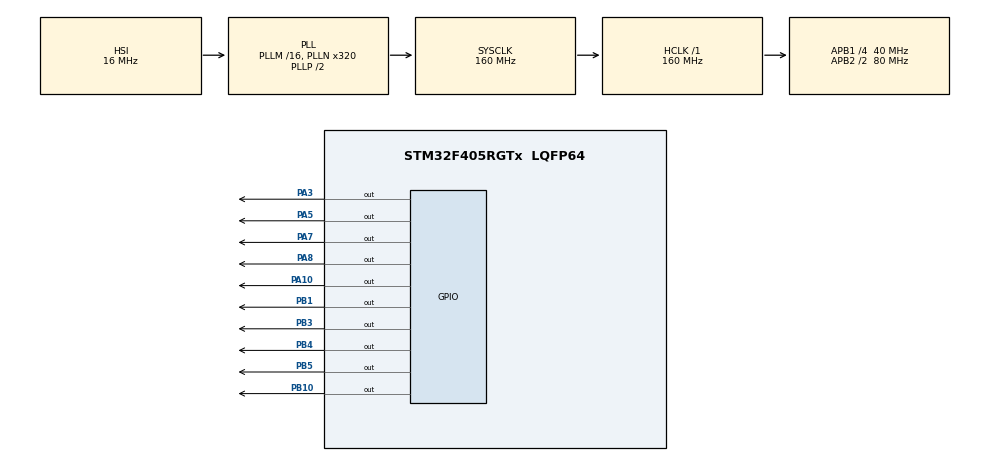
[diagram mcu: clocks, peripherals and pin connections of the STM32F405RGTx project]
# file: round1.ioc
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Mcu.Family=STM32F4
Mcu.Name=STM32F405RGTx
Mcu.Package=LQFP64
NVIC.PriorityGroup=NVIC_PRIORITYGROUP_4
PA10.GPIO_Speed=GPIO_SPEED_FREQ_HIGH
PA10.Signal=GPIO_Output
PA3.GPIO_Speed=GPIO_SPEED_FREQ_HIGH
PA3.Signal=GPIO_Output
PA5.GPIO_Speed=GPIO_SPEED_FREQ_HIGH
PA5.Signal=GPIO_Output
PA7.GPIO_Speed=GPIO_SPEED_FREQ_HIGH
PA7.Signal=GPIO_Output
PA8.GPIO_Speed=GPIO_SPEED_FREQ_HIGH
PA8.PinState=GPIO_PIN_SET
PA8.Signal=GPIO_Output
PB1.GPIO_Speed=GPIO_SPEED_FREQ_HIGH
PB1.Signal=GPIO_Output
PB10.GPIO_Speed=GPIO_SPEED_FREQ_HIGH
PB10.Signal=GPIO_Output
PB3.GPIO_Speed=GPIO_SPEED_FREQ_HIGH
PB3.Signal=GPIO_Output
PB4.GPIO_Speed=GPIO_SPEED_FREQ_HIGH
PB4.Signal=GPIO_Output
PB5.GPIO_Speed=GPIO_SPEED_FREQ_HIGH
PB5.Signal=GPIO_Output
ProjectManager.HeapSize=0x200
ProjectManager.StackSize=0x400
ProjectManager.TargetToolchain=Makefile
RCC.48MHZClocksFreq_Value=106666666.66666667
RCC.AHBFreq_Value=160000000
RCC.APB1CLKDivider=RCC_HCLK_DIV4
RCC.APB1Freq_Value=40000000
RCC.APB1TimFreq_Value=80000000
RCC.APB2CLKDivider=RCC_HCLK_DIV2
RCC.APB2Freq_Value=80000000
RCC.APB2TimFreq_Value=160000000
RCC.CortexFreq_Value=160000000
RCC.HCLKFreq_Value=160000000
RCC.HSE_VALUE=26000000
RCC.HSI_VALUE=16000000
RCC.LSE_VALUE=32768
RCC.PLLN=320
RCC.PLLQ=3
RCC.SYSCLKFreq_VALUE=160000000
RCC.SYSCLKSource=RCC_SYSCLKSOURCE_PLLCLK
RCC.VCOOutputFreq_Value=320000000
board=round1

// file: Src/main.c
/* USER CODE BEGIN Header */
/**
  ******************************************************************************
  * @file           : main.c
  * @brief          : Main program body
  ******************************************************************************
  * @attention
  *
  * <h2><center>&copy; Copyright (c) 2019 STMicroelectronics.
  * All rights reserved.</center></h2>
  *
  * This software component is licensed by ST under BSD 3-Clause license,
  * the "License"; You may not use this file except in compliance with the
  * License. You may obtain a copy of the License at:
  *                        opensource.org/licenses/BSD-3-Clause
  *
  ******************************************************************************
  */
/* USER CODE END Header */

#include "main.h"

/* USER CODE BEGIN Includes */
#include <math.h>
#include <stdlib.h>
#include <string.h>
#include "mpu6000.h"
#include "snake.h"
#include "buttons.h"
#include "led_panel.h"
#include "blockchain.h"
#include "servo.h"
#include "slave.h"

/* USER CODE END Includes */

/* USER CODE BEGIN PV */
/* Private variables ---------------------------------------------------------*/

static GPIO_InitTypeDef  GPIO_InitStruct;

/* USER CODE END PV */

void SystemClock_Config(void);
static void MX_GPIO_Init(void);
/* USER CODE BEGIN PFP */
/* Private function prototypes -----------------------------------------------*/

/* USER CODE END PFP */

/* USER CODE BEGIN 0 */

#define MODE_RAIN        0b0000000000000001
#define MODE_SNAKE       0b0000000000000010
#define MODE_BLIND       0b0000000000000100
#define MODE_RANDOM      0b0000000000001000
#define MODE_DEBUG       0b0000000000010000
#define MODE_EYE         0b0000000000100000
#define MODE_WELCOME     0b0000000001000000
#define MODE_BLOCKCHAIN  0b0000000010000000
#define MODE_PLASMA      0b0000000100000000

#define SLAVE_MODE_RAIN		0
#define SLAVE_MODE_SNAKE	1
#define SLAVE_MODE_BLIND	2
#define SLAVE_MODE_RANDOM	3
#define SLAVE_MODE_EYE		4
#define SLAVE_MODE_WELCOME	5
#define SLAVE_MODE_BLOCKCHAIN	6
#define SLAVE_MODE_PLASMA	7

#define PWM_TOP 2001
#define PWM_BOTTOM 550
#define PWM_RANGE (PWM_TOP - PWM_BOTTOM)
#define PWM_RANGE_MIDPOINT (PWM_RANGE / 2.0)
const float degreesPerPwm = PWM_RANGE / 180;

uint8_t slaveModeEnabled() {
	return !HAL_GPIO_ReadPin(GPIOC, GPIO_PIN_3);
}

void setSlaveMode(uint8_t slaveMode) {
        HAL_GPIO_WritePin(GPIOC, GPIO_PIN_7, GPIO_PIN_RESET); // SET OTHER BADGE TO SLAVE
        HAL_GPIO_WritePin(GPIOC, GPIO_PIN_6, (slaveMode & (1 << 2)) ? GPIO_PIN_SET : GPIO_PIN_RESET);
        HAL_GPIO_WritePin(GPIOC, GPIO_PIN_5, (slaveMode & (1 << 1)) ? GPIO_PIN_SET : GPIO_PIN_RESET);
        HAL_GPIO_WritePin(GPIOC, GPIO_PIN_4, (slaveMode & (1 << 0)) ? GPIO_PIN_SET : GPIO_PIN_RESET);
}

uint16_t calculateServoAnglePwm(float angle) {
	angle += 90;
	uint16_t servoPwm = PWM_BOTTOM + (angle * degreesPerPwm);

	if(servoPwm > PWM_TOP) {
		servoPwm = PWM_TOP;
	}
	if(servoPwm < PWM_BOTTOM) {
		servoPwm = PWM_BOTTOM;
	}

	return servoPwm;
}

uint8_t buttonPressed(uint32_t buttonState[16], uint32_t buttonAccumulators[16], uint32_t button, uint32_t* lastButtonPressTick) {
	uint8_t buttonPressed = 0;

	if((buttonState[button] < 256) && (buttonAccumulators[button] > 256)) {
		buttonPressed = 1;
		buttonState[button] = 512;

		*lastButtonPressTick = HAL_GetTick();
	} else if(buttonAccumulators[button] < 256) {
		buttonState[button] = 0;
	}

	return buttonPressed;
}

struct AccRingBuffer {
	int16_t x;
	int16_t y;
	int16_t z;

	struct AccRingBuffer* next;
};
struct AccRingBuffer* accRingBuffer;

void initRingBufferEntry(struct AccRingBuffer* ringBufferEntry) {
	ringBufferEntry->x = 0;
	ringBufferEntry->y = 0;
	ringBufferEntry->z = 0;

	ringBufferEntry->next = NULL;
}

void initAccRingBuffer(uint8_t bufferSize) {
	accRingBuffer = malloc(sizeof(struct AccRingBuffer));
	struct AccRingBuffer* curAccRingBuffer = accRingBuffer;
	initRingBufferEntry(curAccRingBuffer);

	while(bufferSize-- > 1) {
		struct AccRingBuffer* nextAccRingBuffer = malloc(sizeof(struct AccRingBuffer));
		initRingBufferEntry(nextAccRingBuffer);

		nextAccRingBuffer->next = accRingBuffer;
		curAccRingBuffer->next = nextAccRingBuffer;

		curAccRingBuffer = nextAccRingBuffer;
	}
}

void moveToNextAccRingBufferEntry() {
	struct AccRingBuffer* nextAccRingBuffer = accRingBuffer->next;
	accRingBuffer = nextAccRingBuffer;
}

void calculateMeans(uint8_t bufferSize, uint16_t* ret_x, uint16_t* ret_y, uint16_t* ret_z) {
	uint32_t x = 0;
	uint32_t y = 0;
	uint32_t z = 0;

	for(int i = 0; i < bufferSize; i++) {
		printf("arb x (%d) y (%d) z (%d)\n", accRingBuffer->x, accRingBuffer->y, accRingBuffer->z);
		x += accRingBuffer->x;
		y += accRingBuffer->y;
		z += accRingBuffer->z;

		moveToNextAccRingBufferEntry();
	}

	x /= bufferSize;
	y /= bufferSize;
	z /= bufferSize;

	(*ret_x) = x;
	(*ret_y) = y;
	(*ret_z) = z;
}

void calculateStdDevs(uint8_t bufferSize, uint16_t* mean_x, uint16_t* mean_y, uint16_t* mean_z, uint16_t* ret_x, uint16_t* ret_y, uint16_t* ret_z) {
	uint32_t total_diff_x = 0;
	uint32_t total_diff_y = 0;
	uint32_t total_diff_z = 0;

	for(int i = 0; i < bufferSize; i++) {
		total_diff_x += pow(accRingBuffer->x - *mean_x, 2);
		total_diff_y += pow(accRingBuffer->y - *mean_y, 2);
		total_diff_z += pow(accRingBuffer->z - *mean_z, 2);

		moveToNextAccRingBufferEntry();
	}

	total_diff_x /= bufferSize;
	total_diff_y /= bufferSize;
	total_diff_z /= bufferSize;

	(*ret_x) = sqrt(total_diff_x);
	(*ret_y) = sqrt(total_diff_y);
	(*ret_z) = sqrt(total_diff_z);
}
 void removeOutliers(uint8_t bufferSize, uint16_t* mean_x, uint16_t* mean_y, uint16_t* mean_z, uint16_t* std_x, uint16_t* std_y, uint16_t* std_z) {
        for(int i = 0; i < bufferSize; i++) {
		if(accRingBuffer->x > (*mean_x + 2 * *std_x)) {
			accRingBuffer->x = (*mean_x + 2 * *std_x);
		} else if(accRingBuffer->x < (*mean_x - 2 * *std_x)) {
			accRingBuffer->x = (*mean_x - 2 * *std_x);
		}

		if(accRingBuffer->y > (*mean_y + 2 * *std_y)) {
			accRingBuffer->y = (*mean_y + 2 * *std_y);
		} else if(accRingBuffer->y < (*mean_y - 2 * *std_y)) {
			accRingBuffer->y = (*mean_y - 2 * *std_y);
		}

		if(accRingBuffer->z > (*mean_z + 2 * *std_z)) {
			accRingBuffer->z = (*mean_z + 2 * *std_z);
		} else if(accRingBuffer->z < (*mean_z - 2 * *std_z)) {
			accRingBuffer->z = (*mean_z - 2 * *std_z);
		}

                moveToNextAccRingBufferEntry();
        }
}

void serialSend(uint8_t* buffer) {
	//CDC_Transmit_FS(buffer, strlen(buffer));
        //HAL_UART_Receive(&huart2, buffer, sizeof(buffer), HAL_MAX_DELAY);
        //HAL_UART_Transmit(&huart6, buffer, 2, HAL_MAX_DELAY);
//        HAL_UART_Transmit(&huart3, buffer, strlen(buffer), HAL_MAX_DELAY);
}

/*
uint8_t spiBusReadRegister(SPI_HandleTypeDef* spi, uint8_t mpuRegister) {
	uint8_t registerWithFlag = 0b10000000 | mpuRegister;
	uint8_t rxBuffer[20];

        HAL_GPIO_WritePin(GPIOA, GPIO_PIN_4, GPIO_PIN_RESET);
	//HAL_Delay(1);

	//HAL_SPI_TransmitReceive(spi, &registerWithFlag, rxBuffer, 1, HAL_MAX_DELAY);
	HAL_SPI_Transmit(spi, &registerWithFlag, 1, HAL_MAX_DELAY);
	HAL_SPI_Receive(spi, &rxBuffer, 1, HAL_MAX_DELAY);

	//HAL_Delay(1);
        HAL_GPIO_WritePin(GPIOA, GPIO_PIN_4, GPIO_PIN_SET);

	return rxBuffer[0];
}

uint8_t spiBusReadRegisterBuffer(SPI_HandleTypeDef* spi, uint8_t mpuRegister, uint8_t* rxBuffer, uint8_t bufferSize) {
	uint8_t registerWithFlag = 0b10000000 | mpuRegister;

        HAL_GPIO_WritePin(GPIOA, GPIO_PIN_4, GPIO_PIN_RESET);
	HAL_Delay(1);

	//HAL_SPI_TransmitReceive(spi, &registerWithFlag, rxBuffer, 1, HAL_MAX_DELAY);
	HAL_SPI_Transmit(spi, &registerWithFlag, 1, HAL_MAX_DELAY);
	HAL_SPI_Receive(spi, rxBuffer, bufferSize, HAL_MAX_DELAY);

	HAL_Delay(1);
        HAL_GPIO_WritePin(GPIOA, GPIO_PIN_4, GPIO_PIN_SET);

	return rxBuffer[0];
}
*/

/*
157     spiTransferByte(bus->busdev_u.spi.instance, reg | 0x80); // read transaction
158     spiTransfer(bus->busdev_u.spi.instance, NULL, data, length);
*/

/*
uint8_t spiBusWriteRegister(SPI_HandleTypeDef* spi, uint8_t mpuRegister, uint8_t value) {
	uint8_t writeBuffer[2] = { 0b00000000 | mpuRegister, value };

        HAL_GPIO_WritePin(GPIOA, GPIO_PIN_4, GPIO_PIN_RESET);
	HAL_SPI_Transmit(spi, writeBuffer, 2, HAL_MAX_DELAY);
        HAL_GPIO_WritePin(GPIOA, GPIO_PIN_4, GPIO_PIN_SET);

	return 0;
}
*/

/*
uint8_t initMPU6000() {
	serialSend("Initialising MPU6000");
	//spiBusWriteRegister(&hspi1, MPU_RA_PWR_MGMT_1, BIT_H_RESET);
        HAL_Delay(200);

	uint8_t debugBuffer[100];

	while(1) {
	//for(int i = 0; i < 5; i++) {
		serialSend("Sending Whoami");
		uint8_t whoAmI = spiBusReadRegister(&hspi1, MPU_RA_WHO_AM_I);

		if(whoAmI == MPU6000_WHO_AM_I_CONST) {
			sprintf(debugBuffer, "Got MPU6000\r\n");
			serialSend(debugBuffer);
			break;
		}

		sprintf(debugBuffer, "WHOAMI returned (%d)\r\n", whoAmI);
		serialSend(debugBuffer);
        	//HAL_Delay(200);
        	HAL_Delay(20);
	}

       	HAL_Delay(20);
	const uint8_t productID = spiBusReadRegister(&hspi1, MPU_RA_PRODUCT_ID);
	char* productIDString;
	switch(productID) {
		case MPU6000ES_REV_C4:
			productIDString = "MPU6000ES_REV_C4";
			break;
		case MPU6000ES_REV_C5:
			productIDString = "MPU6000ES_REV_C5";
			break;
		case MPU6000ES_REV_D6:
			productIDString = "MPU6000ES_REV_D6";
			break;
		case MPU6000ES_REV_D7:
			productIDString = "MPU6000ES_REV_D7";
			break;
		case MPU6000ES_REV_D8:
			productIDString = "MPU6000ES_REV_D8";
			break;
		case MPU6000_REV_C4:
			productIDString = "MPU6000ES_REV_C4";
			break;
		case MPU6000_REV_C5:
			productIDString = "MPU6000ES_REV_C5";
			break;
		case MPU6000_REV_D6:
			productIDString = "MPU6000ES_REV_D6";
			break;
		case MPU6000_REV_D7:
			productIDString = "MPU6000ES_REV_D7";
			break;
		case MPU6000_REV_D8:
			productIDString = "MPU6000ES_REV_D8";
			break;
		case MPU6000_REV_D9:
			productIDString = "MPU6000ES_REV_D9";
			break;
		case MPU6000_REV_D10:
			productIDString = "MPU6000ES_REV_D10";
			break;
		default:
			productIDString = "UNKNOWN MPU";
	}

	sprintf(debugBuffer, "PRODUCTID returned (%d) (%s)\r\n", productID, productIDString);
	serialSend(debugBuffer);

    // Device Reset
    spiBusWriteRegister(&hspi1, MPU_RA_PWR_MGMT_1, BIT_H_RESET);
    HAL_Delay(150);

    spiBusWriteRegister(&hspi1, MPU_RA_SIGNAL_PATH_RESET, BIT_GYRO | BIT_ACC | BIT_TEMP);
    HAL_Delay(150);

    // Clock Source PPL with Z axis gyro reference
    //spiBusWriteRegister(&hspi1, MPU_RA_PWR_MGMT_1, MPU_CLK_SEL_PLLGYROZ);
    spiBusWriteRegister(&hspi1, MPU_RA_PWR_MGMT_1, MPU_CLK_INT_8MHZ);
    HAL_Delay(15);

    // Disable Primary I2C Interface
    spiBusWriteRegister(&hspi1, MPU_RA_USER_CTRL, BIT_I2C_IF_DIS);
    HAL_Delay(15);

    spiBusWriteRegister(&hspi1, MPU_RA_PWR_MGMT_2, 0x00);
    HAL_Delay(15);

    // Accel Sample Rate 1kHz
    // Gyroscope Output Rate =  1kHz when the DLPF is enabled
    //spiBusWriteRegister(&hspi1, MPU_RA_SMPLRT_DIV, gyro->mpuDividerDrops);
    spiBusWriteRegister(&hspi1, MPU_RA_SMPLRT_DIV, 7);
    HAL_Delay(15);

    // DLPF
    spiBusWriteRegister(&hspi1, MPU_RA_CONFIG, 4 << 0);
    HAL_Delay(15);

    // Gyro +/- 1000 DPS Full Scale
    spiBusWriteRegister(&hspi1, MPU_RA_GYRO_CONFIG, INV_FSR_2000DPS << 3);
    HAL_Delay(15);

    // Accel +/- 8 G Full Scale
    //spiBusWriteRegister(&hspi1, MPU_RA_ACCEL_CONFIG, INV_FSR_8G << 3);
    spiBusWriteRegister(&hspi1, MPU_RA_ACCEL_CONFIG, INV_FSR_2G << 3);
    HAL_Delay(15);

    spiBusWriteRegister(&hspi1, MPU_RA_FIFO_EN, 0 << 7 | 1 << 6 | 1 << 5 | 1 << 4 | 1 << 3 | 0 << 2 | 0 << 1 | 0 << 0);  // INT_ANYRD_2CLEAR
    HAL_Delay(15);

    spiBusWriteRegister(&hspi1, MPU_RA_INT_PIN_CFG, 0 << 7 | 0 << 6 | 1 << 5 | 0 << 4 | 0 << 3 | 0 << 2 | 0 << 1 | 0 << 0);  // INT_ANYRD_2CLEAR
    HAL_Delay(15);

    spiBusWriteRegister(&hspi1, MPU_RA_INT_ENABLE, MPU_RF_DATA_RDY_EN);
    HAL_Delay(15);

    return productID;
}
*/

/*
void readAccAndGyro(int16_t* accData)
{
//    int16_t data[6];

    uint8_t mpuData[12];
    bzero(mpuData, 12);

    //spiBusReadRegisterBuffer(&hspi1, MPU_RA_ACCEL_XOUT_H, mpuData, 12);

    uint8_t mpuDataIndex = 0;
    accData[0] = (((int8_t)mpuData[0]) << 8) + ((uint8_t)mpuData[1]);
    accData[1] = (((int8_t)mpuData[2]) << 8) + ((uint8_t)mpuData[3]);
    accData[2] = (((int8_t)mpuData[4]) << 8) + ((uint8_t)mpuData[5]);

    accData[3] = (((int8_t)mpuData[6]) << 8) + ((uint8_t)mpuData[7]);
    accData[4] = (((int8_t)mpuData[8]) << 8) + ((uint8_t)mpuData[9]);
    accData[5] = (((int8_t)mpuData[10]) << 8) + ((uint8_t)mpuData[11]);

}
*/

struct Particle {
	uint8_t x;
	uint8_t y;
};

/*
void blind(uint32_t brightness, uint32_t whiteLevel, uint32_t startButtonPressed) {
	for(uint8_t x = 0; x < 24; x++) {
		for(uint8_t y = 0; y < 24; y++) {
			setPixel(x, y, brightness, whiteLevel, whiteLevel, whiteLevel);
		}
	}
}

void lowBatteryScreen(uint32_t brightness, uint32_t* batteryFlashCounter) {
	if((*batteryFlashCounter)++ % 50 > 25) {
		for(int y = 9; y < 9 + 6; y++) {
			setPixel(10, y, brightness, 0b1111, 0, 0);
			setPixel(13, y, brightness, 0b1111, 0, 0);
		}

		for(int x = 11; x <= 12; x++) {
			setPixel(x, 8, brightness, 0b1111, 0, 0);
			setPixel(x, 9, brightness, 0b1111, 0, 0);
			setPixel(x, 14, brightness, 0b1111, 0, 0);
		}
	}
}

void random_pixels(uint32_t brightness, uint32_t startButtonPressed) {
	for(uint8_t x = 0; x < 24; x++) {
		for(uint8_t y = 0; y < 24; y++) {
			setPixel(x, y, brightness, rand() % 0b11111, rand() % 0b11111, rand() % 0b11111);
		}
	}
}
*/

static const uint8_t maxParticles = 32;
struct Particle* particles[32];
uint32_t rainBrightness = 0b111;
uint32_t rainRed = 0b11111;
uint32_t rainGreen = 0b11111;
uint32_t rainBlue = 0b11111;

void rain(int xAcc, int yAcc, uint32_t buttonState[16], uint32_t buttonAccumulators[16], uint32_t* lastButtonPressTick, uint32_t startButtonPressed) {
}

void binToHex(uint8_t in[], uint8_t out[], uint8_t byteCount) {
	out[0] = 0;

	for(int i = 0; i < byteCount; i++) {
		sprintf(out + (i * 3), "%.3d", in[i]);
	}
}

uint32_t irDelayDebug = 0;
uint8_t irDelay = 26;
/*
void debug(uint32_t buttonState[16], uint32_t buttonAccumulators[16], uint32_t brightness, uint32_t batteryAdcAverage, uint32_t batteryVoltage100, uint32_t startButtonPressed) {
	for(int i = 0; i < 16; i++) {
		setPixel(i, 0, brightness, (buttonState[i] > 256) ? 20 : 0, (buttonState[i] <= 256) ? 20 : 0, 0);
		setPixel(i, 1, brightness, (buttonAccumulators[i] > 256) ? 20 : 0, (buttonAccumulators[i] <= 256) ? 20 : 0, 0);
		setPixel(i, 2, brightness, (buttonAccumulators[i] > 128) ? 20 : 0, (buttonAccumulators[i] <= 128) ? 20 : 0, 0);
		setPixel(i, 3, brightness, (buttonAccumulators[i] > 64) ? 20 : 0, (buttonAccumulators[i] <= 64) ? 20 : 0, 0);
		setPixel(i, 4, brightness, (buttonAccumulators[i] > 32) ? 20 : 0, (buttonAccumulators[i] <= 32) ? 20 : 0, 0);
		setPixel(i, 5, brightness, (buttonAccumulators[i] > 16) ? 20 : 0, (buttonAccumulators[i] <= 16) ? 20 : 0, 0);
		setPixel(i, 6, brightness, (buttonAccumulators[i] > 0) ? 20 : 0, (buttonAccumulators[i] <= 0) ? 20 : 0, 0);
	}

	//drawText(brightness, 0, 9, "monero", 6);

	if(irDelayDebug++ % 30 > 1) {
		//irTXWithDelay("hello\r\n", 7, irDelayDebug % 100);
	}

	char batteryAdcValueText[4];
	sprintf(batteryAdcValueText, "%.4lu", batteryAdcAverage);
	drawText(brightness, 0, 7, batteryAdcValueText, 4);

	//uint8_t batteryVoltageMajor = batteryVoltage100/100;
	//uint8_t batteryVoltageMinor = (batteryVoltage100 - (batteryVoltageMajor * 100));
	char batteryVoltageText[10];
	sprintf(batteryVoltageText, "%.3d", batteryVoltage100);

	drawText(brightness, 0, 13, batteryVoltageText, 3);

	uint32_t lastButtonPressTick = 0;
	uint8_t upPressed = buttonPressed(buttonState, buttonAccumulators, BUTTON_L1, &lastButtonPressTick);
	uint8_t downPressed = buttonPressed(buttonState, buttonAccumulators, BUTTON_L3, &lastButtonPressTick);

	if(upPressed) {
		irDelay++;
	}
	if(downPressed) {
		irDelay--;
	}

	char irDelayText[4];
	sprintf(irDelayText, "%.4d", irDelay);
	drawText(brightness, 0, 19, irDelayText, 4);
	uint8_t irData[100];
	uint8_t receivedDataCount = irRX(irData, 100);

	uint8_t hexOut[30];
*/

uint16_t setTriplet(uint8_t screen, uint8_t colour, uint16_t value) {
        uint16_t screenMask = 0b111 << (1 + (3 * screen));
        uint16_t invertedScreenMask = ~screenMask;
        uint16_t screenMaskedOut = value & invertedScreenMask;

        uint16_t shiftedColour = colour << (1 + (3 * screen));

        uint16_t combinedValue = screenMaskedOut | shiftedColour;

        return combinedValue;
}

uint16_t getTriplet(uint8_t screen, uint16_t value) {
        return (value >> (1 + (3 * screen))) & 0b111;
}

uint16_t getPixelTFT(uint16_t xPos, uint16_t yPos, uint8_t screen, uint16_t buffer[240*240]) {
        int pixelIndex = (int)(((int)yPos * 240) + (int)xPos);
        uint16_t triplet = getTriplet(screen, buffer[pixelIndex]);
        //printf("TRIPLET (%d)\n");

        return triplet;
}

void setPixelTFT(uint16_t xPos, uint16_t yPos, uint8_t screen, uint8_t color, uint16_t buffer[240*240]) {
        int pixelIndex = (int)(((int)yPos * 240) + (int)xPos);

        uint16_t pixels = buffer[pixelIndex];

        uint16_t pixelValue = buffer[pixelIndex];
        //printf("PIXELVALUE (%d)\n", pixelValue);
        buffer[pixelIndex] = setTriplet(screen, color, pixelValue);
}

void drawLine(float y1, float x1, float y2, float x2, uint8_t screen, uint16_t color, uint16_t buffer[240*240]) {
	float xDiff = x2 - x1;
	float yDiff = y2 - y1;

	float m = yDiff / xDiff;
	float c = y1 - (m * x1);

	if(x2 > x1) {
		float x = x1;
		while(x <= x2) {
			int y = (m * x) + c;

			setPixelTFT(x, y, screen, color, buffer);

			x++;
		}
	} else {
		float x = x2;
		while(x >= x1) {
			int y = (m * x) + c;

			setPixelTFT(x, y, screen, color, buffer);

			x--;
		}
	}
}

float sinLUT[720];
float cosLUT[720];
int sinLutPopulated = 0;

float quarterAngle = 6.28318f/4.0f;

void drawCircle(float y, float x, float radius, uint8_t screen, uint16_t color, uint16_t buffer[240*240]) {
	for(float angle = 0.0f; angle < quarterAngle; angle += 0.008725) {
		int rightX = radius * sinf(angle);
		int leftX = radius * sinf(angle + quarterAngle + quarterAngle);
		int topY = radius * cosf(angle);
		int bottomY = radius * cosf(angle + quarterAngle + quarterAngle);

		for(int pixelX = leftX; pixelX < rightX; pixelX++) {
			setPixelTFT(x + pixelX, y + topY, screen, color, buffer);
			setPixelTFT(x + pixelX, y + bottomY, screen, color, buffer);
		}
	}

/*
	if(!sinLutPopulated) {
		sinLutPopulated = 1;

		int lutIndex = 0;
		for(float angle = 0.0f; angle < 6.282; angle += 0.008725) {
			sinLUT[lutIndex] = sin(angle);
			cosLUT[lutIndex] = cos(angle);
			lutIndex++;
		}
	}
*/
/*
	for(; radius >= 0; radius -= 0.5) {
		for(int i = 0; i < 720;  i++) {
			//float xPos = 65.0 + (60.0 * sin(i));
			float xPos = x + (radius * sinLUT[i]);
			float yPos = y + (radius * cosLUT[i]);

			setPixelTFT(xPos, yPos, screen, color, buffer);
		}
	}
*/
/*

	for(int i = 1; i < 360; i++) {
		float x1 = x + (radius * sinLUT[i]);
		float y1 = y + (radius * cosLUT[i]);

		float x2 = x + (radius * sinLUT[719 - i]);
		float y2 = y + (radius * cosLUT[719 - i]);

		drawLine(y1, x1, y2, x2, screen, color, buffer);
	}
*/
}

void byteToBits(uint8_t bits[8], uint8_t byte) {
	bits[0] = (byte & 0x80) ? GPIO_PIN_SET : GPIO_PIN_RESET;
	bits[1] = (byte & 0x40) ? GPIO_PIN_SET : GPIO_PIN_RESET;
	bits[2] = (byte & 0x20) ? GPIO_PIN_SET : GPIO_PIN_RESET;
	bits[3] = (byte & 0x10) ? GPIO_PIN_SET : GPIO_PIN_RESET;
	bits[4] = (byte & 0x08) ? GPIO_PIN_SET : GPIO_PIN_RESET;
	bits[5] = (byte & 0x04) ? GPIO_PIN_SET : GPIO_PIN_RESET;
	bits[6] = (byte & 0x02) ? GPIO_PIN_SET : GPIO_PIN_RESET;
	bits[7] = (byte & 0x01) ? GPIO_PIN_SET : GPIO_PIN_RESET;
/*
	bits[7] = byte & 0x80;
	bits[6] = byte & 0x40;
	bits[5] = byte & 0x20;
	bits[4] = byte & 0x10;
	bits[3] = byte & 0x08;
	bits[2] = byte & 0x04;
	bits[1] = byte & 0x02;
	bits[0] = byte & 0x01;
*/
}

void writeLCDDataByte(uint8_t dataByte, uint32_t delay) {
	writeLCDDataByteMulti(dataByte, dataByte, dataByte, dataByte, dataByte, delay);
}

void writeLCDDataByteMulti(uint8_t dataByteA, uint8_t dataByteB, uint8_t dataByteC, uint8_t dataByteD, uint8_t dataByteE, uint32_t delay) {
  	HAL_GPIO_WritePin(GPIOA, GPIO_PIN_10,GPIO_PIN_SET);   // DC

	uint8_t dataABits[8];
	byteToBits(dataABits, dataByteA);

	uint8_t dataBBits[8];
	byteToBits(dataBBits, dataByteB);

	uint8_t dataCBits[8];
	byteToBits(dataCBits, dataByteC);

	uint8_t dataDBits[8];
	byteToBits(dataDBits, dataByteD);

	uint8_t dataEBits[8];
	byteToBits(dataEBits, dataByteE);
/*
*/

  	HAL_GPIO_WritePin(GPIOA, GPIO_PIN_10,GPIO_PIN_SET);   // DC

  	HAL_GPIO_WritePin(GPIOB, GPIO_PIN_1|GPIO_PIN_3|GPIO_PIN_4|GPIO_PIN_5|GPIO_PIN_10,GPIO_PIN_RESET); // D2

  	HAL_GPIO_WritePin(GPIOA, GPIO_PIN_5, GPIO_PIN_SET); // CLK
	for(int i = 0; i < 8; i++) {
  		HAL_GPIO_WritePin(GPIOB, GPIO_PIN_1, dataABits[i]);
  		HAL_GPIO_WritePin(GPIOB, GPIO_PIN_3, dataBBits[i]);
  		HAL_GPIO_WritePin(GPIOB, GPIO_PIN_4, dataCBits[i]);
  		HAL_GPIO_WritePin(GPIOB, GPIO_PIN_5, dataDBits[i]);
  		HAL_GPIO_WritePin(GPIOB, GPIO_PIN_10, dataEBits[i]);
/*
*/

/*
		uint8_t bitMask = 0x80 - (1 << i);
		//uint8_t bitMask = (1 << i);
		uint16_t pinMaskOn = (
			(dataByteA & bitMask ? GPIO_PIN_1 : 0) |
			(dataByteB & bitMask ? GPIO_PIN_3 : 0) |
			(dataByteC & bitMask ? GPIO_PIN_4 : 0) |
			(dataByteD & bitMask ? GPIO_PIN_5 : 0) |
			(dataByteE & bitMask ? GPIO_PIN_10 : 0)
		);
		uint16_t pinMaskOff = (
			(dataByteA & bitMask ? 0 : GPIO_PIN_1) |
			(dataByteB & bitMask ? 0 : GPIO_PIN_3) |
			(dataByteC & bitMask ? 0 : GPIO_PIN_4) |
			(dataByteD & bitMask ? 0 : GPIO_PIN_5) |
			(dataByteE & bitMask ? 0 : GPIO_PIN_10)
		);

  		HAL_GPIO_WritePin(GPIOB, pinMaskOn, GPIO_PIN_SET);
  		HAL_GPIO_WritePin(GPIOB, pinMaskOff, GPIO_PIN_RESET);
*/

  		HAL_GPIO_WritePin(GPIOA, GPIO_PIN_5,GPIO_PIN_RESET);

		//for(int j = 0; j < delay; j++) { asm("NOP");}
		//asm("NOP");

  		HAL_GPIO_WritePin(GPIOA, GPIO_PIN_5,GPIO_PIN_SET);

		//for(int j = 0; j < delay; j++) { asm("NOP");}
		//asm("NOP");
	}

  	HAL_GPIO_WritePin(GPIOB, GPIO_PIN_1|GPIO_PIN_3|GPIO_PIN_4|GPIO_PIN_5|GPIO_PIN_10,GPIO_PIN_RESET); // D2
}

void writeLCDCommand(uint8_t command, uint32_t delay) {
	uint8_t commandBits[8];
	byteToBits(commandBits, command);

	// Write command
  	HAL_GPIO_WritePin(GPIOA, GPIO_PIN_10,GPIO_PIN_RESET); // DC

	//HAL_SPI_Transmit(&hspi1, (uint8_t*)commandData, 1, HAL_MAX_DELAY);

  	HAL_GPIO_WritePin(GPIOB, GPIO_PIN_1|GPIO_PIN_3|GPIO_PIN_4|GPIO_PIN_5|GPIO_PIN_10,GPIO_PIN_RESET); // D2

  	HAL_GPIO_WritePin(GPIOA, GPIO_PIN_5, GPIO_PIN_SET); // CLK
	for(int i = 0; i < 8; i++) {
		uint8_t pinValue = commandBits[i] ? GPIO_PIN_SET : GPIO_PIN_RESET;
  		HAL_GPIO_WritePin(GPIOB, GPIO_PIN_1|GPIO_PIN_3|GPIO_PIN_4|GPIO_PIN_5|GPIO_PIN_10, pinValue);

  		HAL_GPIO_WritePin(GPIOA, GPIO_PIN_5,GPIO_PIN_RESET);

		//for(int j = 0; j < delay; j++) { asm("NOP");}
		//asm("NOP");

  		HAL_GPIO_WritePin(GPIOA, GPIO_PIN_5,GPIO_PIN_SET);

		//for(int j = 0; j < delay; j++) { asm("NOP");}
		//asm("NOP");
	}

  	HAL_GPIO_WritePin(GPIOB, GPIO_PIN_1|GPIO_PIN_3|GPIO_PIN_4|GPIO_PIN_5|GPIO_PIN_10,GPIO_PIN_RESET); // D2

  	HAL_GPIO_WritePin(GPIOA, GPIO_PIN_5, GPIO_PIN_SET); // CLK
/*
*/
  	HAL_GPIO_WritePin(GPIOA, GPIO_PIN_10,GPIO_PIN_SET);   // DC
}

#define SCREEN_TFT_RED    0
#define SCREEN_TFT_GREEN  1
#define SCREEN_TFT_BLUE   2
#define SCREEN_TFT_BLACK  3
#define SCREEN_TFT_YELLOW 4
#define SCREEN_TFT_ORANGE 5
#define SCREEN_TFT_PURPLE  6
#define SCREEN_TFT_WHITE  7

void clearScreen(uint8_t screen, uint16_t buffer[240*240]) {
	for(uint16_t x = 0; x < 240; x++) {
		for(uint16_t y = 0; y < 240; y++) {
			setPixelTFT(x, y, screen, SCREEN_TFT_BLACK, buffer);
		}
	}
}

void drawHeart(uint8_t screen, uint16_t color, uint16_t heartBuffer[240*240]) {
	uint16_t bufferIndex = 0;

	clearScreen(screen, heartBuffer);

	int x1Center = 61.0;
	int y1Center = 60.0;

	int x2Center = 179.0;
	int y2Center = 60.0;

	int xMidpoint = 120.0;

	float circleRadius = 60;

	drawCircle(x1Center, y1Center, circleRadius, screen, color, heartBuffer);
	drawCircle(x2Center, y2Center, circleRadius, screen, color, heartBuffer);

	float twotwofiveInRadians = 3.14159f/3.0f;
	int x1LineStart = x1Center - (circleRadius * sin(twotwofiveInRadians));
	int y1LineStart = y1Center + (circleRadius * cos(twotwofiveInRadians));

	int x2LineStart = x2Center + (circleRadius * sin(twotwofiveInRadians));

	for(int x = x1LineStart; x < x2LineStart; x++) {
		drawLine(x, y1LineStart, xMidpoint, 239, screen, color, heartBuffer);
	}

	drawCircle(120, 120, 60, screen, color, heartBuffer);
}

struct GooglyState {
	uint8_t x;
	uint8_t y;
	int verticalRate;
	int horizontalRate;

	uint8_t radius;
};

float randoms[240];
void generateRandoms() {
	for(int i = 0; i < 240; i++) {
		randoms[i] = (float)rand() / (float)RAND_MAX;
	}
}

int randomIndex = 0;
float getRandom() {
	if(randomIndex >= 240) {
		randomIndex = 0;
	}

	//return randoms[randomIndex++];
	return (float)rand() / (float)RAND_MAX;
}

void updateGoogly(struct GooglyState* googlyState) {
	if(googlyState->verticalRate <= 5.0) {
		float r = getRandom();
		googlyState->verticalRate = (100.0f * r) - 50.0f;
	}

	if(googlyState->horizontalRate <= 5.0) {
		float r = getRandom();
		googlyState->horizontalRate = (100.0f * r) - 50.0f;
	}

	googlyState->x += googlyState->horizontalRate;
	googlyState->y += googlyState->verticalRate;

	googlyState->horizontalRate *= 0.85;
	googlyState->verticalRate *= 0.85;
	//googlyState->horizontalRate >>= 1;
	//googlyState->verticalRate >>= 1;
}

/*
uint8_t distance(float x1, float y1, float x2, float y2) {
	float xDiff = x2 - x1;
	float yDiff = y2 - y1;

	float xDiffSq = xDiff * xDiff;
	float yDiffSq = yDiff * yDiff;

	return sqrt(xDiffSq + yDiffSq;
}
*/

int whiteRedLeft[5][240];
int whiteRedRight[5][240];
int blackLeft[5][240];
int blackRight[5][240];

void drawGoogly(struct GooglyState* googlyState, uint8_t screen, uint16_t heartBuffer[240*240]) {
	for(int x = 0; x < 240; x++) {
		drawLine(x, 0, x, 239, screen, SCREEN_TFT_RED, heartBuffer);
	}

	drawCircle(120, 120, 119, screen, SCREEN_TFT_WHITE, heartBuffer);

	if(googlyState->x - googlyState->radius < 0) {
		googlyState->x = googlyState->radius;
		googlyState->horizontalRate = 0;
	} else if(googlyState->x + googlyState->radius >= 240) {
		googlyState->x = 239 - googlyState->radius;
		googlyState->horizontalRate = 0;
	}

	if(googlyState->y - googlyState->radius < 0) {
		googlyState->y = googlyState->radius;
		googlyState->verticalRate = 0;
	} else if(googlyState->y + googlyState->radius >= 240) {
		googlyState->y = 239 - googlyState->radius;
		googlyState->verticalRate = 0;
	}

	drawCircle(googlyState->x, googlyState->y, googlyState->radius, screen, SCREEN_TFT_BLACK, heartBuffer);
}
/*
*/

/*
void drawGoogly(struct GooglyState* googlyState, uint8_t screen, uint16_t heartBuffer[240*240]) {
	for(int y = 0; y < 240; y++) {
		for(int x = 0; x < 240; x++) {
			if(x <= blackLeft[screen][y]) {
				// BLACK
			} else if(x >= blackRight[screen][y]) {
				// BLACK
			} else {
				if(x <= whiteRedLeft[screen][y]) {
					// RED
				} else if(x >= whiteRedRight[screen][y]) {
					// RED
				} else {
					// WHITE
				}
			}
		}
	}
}
*/

void drawTextColourTFT(uint8_t x, uint8_t y, char text[], uint8_t length, uint8_t screen, uint16_t offColour, uint16_t onColour, uint16_t heartBuffer[240*240]) {
	uint8_t xOffset = 0;

        for(int textIndex = 0; textIndex < length; textIndex++) {
                uint8_t charToDraw = text[textIndex];
                uint8_t charIndex = 0;
                if(charToDraw == 32) {
                        charIndex = 36;
                } else if(charToDraw >= 65 && charToDraw <= 90) {
                        charIndex = charToDraw - 65;
                } else if(charToDraw >= 97 && charToDraw <= 122) {
                        charIndex = charToDraw - 97;
                } else if(charToDraw >= 48 && charToDraw <= 57) {
                        charIndex = charToDraw - 48 + 26;
                }

		int charMultiplier = 8;

                uint8_t charWidth = characters[(charIndex * (CHAR_HEIGHT + 1))];

		for(uint8_t charY = 0; charY < CHAR_HEIGHT; charY++) {
			for(uint8_t charX = 0; charX < charWidth; charX++) {
				uint8_t charLine = characters[(charIndex * (CHAR_HEIGHT + 1)) + charY + 1];

				for(uint8_t charYOffset = 0; charYOffset < charMultiplier; charYOffset++) {
					for(uint8_t charXOffset = 0; charXOffset < charMultiplier; charXOffset++) {
						uint8_t pixelX = x + charXOffset + (charX * charMultiplier) + xOffset;
						uint8_t pixelY = y + charYOffset + (charY * charMultiplier);

						if((charLine >> (charWidth - charX - 1)) & 1) {
							setPixelTFT(pixelY, pixelX, screen, onColour, heartBuffer);
						} else {
							setPixelTFT(pixelY, pixelX, screen, offColour, heartBuffer);
						}
					}
				}
			}
		}

		//setPixel(xOffset, 20, brightness, 20, 20, 20);
		xOffset += charWidth * charMultiplier;
        }
}

void drawCybers(uint8_t x, uint8_t y, uint8_t screen, uint16_t heartBuffer[240*240]) {
	for(int x = 0; x < 240; x++) {
		drawLine(x, 0, x, 239, screen, SCREEN_TFT_YELLOW, heartBuffer);
	}

	//drawTextColourTFT(10, 120, "crsm", 4, screen, SCREEN_TFT_YELLOW, SCREEN_TFT_BLACK, heartBuffer);
	//drawTextColourTFT(10, 120, "cbrs", 4, screen, SCREEN_TFT_YELLOW, SCREEN_TFT_BLACK, heartBuffer);
	//drawTextColourTFT(10, 120, "cbers", 4, screen, SCREEN_TFT_YELLOW, SCREEN_TFT_BLACK, heartBuffer);
	drawTextColourTFT(24, 120 - (((CHAR_HEIGHT + 1) * 8)), "cyber", 5, screen, SCREEN_TFT_YELLOW, SCREEN_TFT_BLACK, heartBuffer);
	drawTextColourTFT(96, 120 + ((CHAR_HEIGHT * 8) / 2), "af", 2, screen, SCREEN_TFT_YELLOW, SCREEN_TFT_BLACK, heartBuffer);
}

/* USER CODE END 0 */

int main(void)
{
  /* USER CODE BEGIN 1 */
// ***************************************************
//  SetSysClock();

  // Configure NVIC preempt/priority groups
  //HAL_NVIC_SetPriorityGrouping(NVIC_PRIORITYGROUP_0);

  // cache RCC->CSR value to use it in isMPUSoftReset() and others
//  cachedRccCsrValue = RCC->CSR;

  /* Accounts for OP Bootloader, set the Vector Table base address as specified in .ld file */
  //extern void *isr_vector_table_base;
  //NVIC_SetVectorTable((uint32_t)&isr_vector_table_base, 0x0);
  //RCC_AHB2PeriphClockCmd(RCC_AHB2Periph_OTG_FS, DISABLE);

  //RCC_ClearFlag();

//  enableGPIOPowerUsageAndNoiseReductions();

  // Init cycle counter
//  cycleCounterInit();

  // SysTick
  //SysTick_Config(SystemCoreClock / 1000);
// ***************************************************

  /* USER CODE END 1 */

  /* MCU Configuration--------------------------------------------------------*/

  /* Reset of all peripherals, Initializes the Flash interface and the Systick. */
  HAL_Init();

  /* Configure the system clock */
  SystemClock_Config();

  /* USER CODE BEGIN SysInit */

    //__SPI1_CLK_ENABLE();

/*
    //__SPI1_CLK_ENABLE();
    __SPI2_CLK_ENABLE();
    spi.Init.BaudRatePrescaler = SPI_BAUDRATEPRESCALER_256;
    spi.Init.Direction = SPI_DIRECTION_2LINES;
    spi.Init.CLKPhase = SPI_PHASE_1EDGE;
    spi.Init.CLKPolarity = SPI_POLARITY_HIGH;
    spi.Init.CRCCalculation = SPI_CRCCALCULATION_DISABLED;
    spi.Init.DataSize = SPI_DATASIZE_8BIT;
    spi.Init.FirstBit = SPI_FIRSTBIT_MSB;
    spi.Init.NSS = SPI_NSS_SOFT;
    spi.Init.TIMode = SPI_TIMODE_DISABLED;
    spi.Init.Mode = SPI_MODE_MASTER;
*/
//	HAL_Delay(1000);
//	HAL_Delay(1000);
  /* USER CODE END SysInit */

  /* Initialize all configured peripherals */
  MX_GPIO_Init();
  /* USER CODE BEGIN 2 */

// ST7789 specific commands used in init
#define ST7789_NOP                      0x00
#define ST7789_SWRESET          0x01
#define ST7789_RDDID            0x04
#define ST7789_RDDST            0x09

#define ST7789_RDDPM            0x0A      // Read display power mode
#define ST7789_RDD_MADCTL       0x0B      // Read display MADCTL
#define ST7789_RDD_COLMOD       0x0C      // Read display pixel format
#define ST7789_RDDIM            0x0D      // Read display image mode
#define ST7789_RDDSM            0x0E      // Read display signal mode
#define ST7789_RDDSR            0x0F      // Read display self-diagnostic result (ST7789V)

#define ST7789_SLPIN            0x10
#define ST7789_SLPOUT           0x11
#define ST7789_PTLON            0x12
#define ST7789_NORON            0x13

#define ST7789_INVOFF           0x20
#define ST7789_INVON            0x21
#define ST7789_GAMSET           0x26      // Gamma set
#define ST7789_DISPOFF          0x28
#define ST7789_DISPON           0x29
#define ST7789_CASET            0x2A
#define ST7789_RASET            0x2B
#define ST7789_RAMWR            0x2C
#define ST7789_RGBSET           0x2D      // Color setting for 4096, 64K and 262K colors
#define ST7789_RAMRD            0x2E

#define ST7789_PTLAR            0x30
#define ST7789_VSCRDEF          0x33      // Vertical scrolling definition (ST7789V)
#define ST7789_TEOFF            0x34      // Tearing effect line off
#define ST7789_TEON                     0x35      // Tearing effect line on
#define ST7789_MADCTL           0x36      // Memory data access control
#define ST7789_IDMOFF           0x38      // Idle mode off
#define ST7789_IDMON            0x39      // Idle mode on
#define ST7789_RAMWRC           0x3C      // Memory write continue (ST7789V)
#define ST7789_RAMRDC           0x3E      // Memory read continue (ST7789V)
#define ST7789_COLMOD           0x3A

#define ST7789_RAMCTRL          0xB0      // RAM control
#define ST7789_RGBCTRL          0xB1      // RGB control
#define ST7789_PORCTRL          0xB2      // Porch control
#define ST7789_FRCTRL1          0xB3      // Frame rate control
#define ST7789_PARCTRL          0xB5      // Partial mode control
#define ST7789_GCTRL            0xB7      // Gate control
#define ST7789_GTADJ            0xB8      // Gate on timing adjustment
#define ST7789_DGMEN            0xBA      // Digital gamma enable
#define ST7789_VCOMS            0xBB      // VCOMS setting
#define ST7789_LCMCTRL          0xC0      // LCM control
#define ST7789_IDSET            0xC1      // ID setting
#define ST7789_VDVVRHEN         0xC2      // VDV and VRH command enable
#define ST7789_VRHS                     0xC3      // VRH set
#define ST7789_VDVSET           0xC4      // VDV setting
#define ST7789_VCMOFSET         0xC5      // VCOMS offset set
#define ST7789_FRCTR2           0xC6      // FR Control 2
#define ST7789_CABCCTRL         0xC7      // CABC control
#define ST7789_REGSEL1          0xC8      // Register value section 1
#define ST7789_REGSEL2          0xCA      // Register value section 2
#define ST7789_PWMFRSEL         0xCC      // PWM frequency selection
#define ST7789_PWCTRL1          0xD0      // Power control 1
#define ST7789_VAPVANEN         0xD2      // Enable VAP/VAN signal output
#define ST7789_CMD2EN           0xDF      // Command 2 enable
#define ST7789_PVGAMCTRL        0xE0      // Positive voltage gamma control
#define ST7789_NVGAMCTRL        0xE1      // Negative voltage gamma control
#define ST7789_DGMLUTR          0xE2      // Digital gamma look-up table for red
#define ST7789_DGMLUTB          0xE3      // Digital gamma look-up table for blue
#define ST7789_GATECTRL         0xE4      // Gate control
#define ST7789_SPI2EN           0xE7      // SPI2 enable
#define ST7789_PWCTRL2          0xE8      // Power control 2
#define ST7789_EQCTRL           0xE9      // Equalize time control
#define ST7789_PROMCTRL         0xEC      // Program control
#define ST7789_PROMEN           0xFA      // Program mode enable
#define ST7789_NVMSET           0xFC      // NVM setting
#define ST7789_PROMACT          0xFE      // Program action

#define TFT_NOP     0x00
#define TFT_SWRST   0x01

#define TFT_SLPIN   0x10
#define TFT_SLPOUT  0x11
#define TFT_NORON   0x13

#define TFT_INVOFF  0x20
#define TFT_INVON   0x21
#define TFT_DISPOFF 0x28
#define TFT_DISPON  0x29
#define TFT_CASET   0x2A
#define TFT_PASET   0x2B
#define TFT_RAMWR   0x2C
#define TFT_RAMRD   0x2E
#define TFT_MADCTL  0x36
#define TFT_COLMOD  0x3A

// Flags for TFT_MADCTL
#define TFT_MAD_MY  0x80
#define TFT_MAD_MX  0x40
#define TFT_MAD_MV  0x20
#define TFT_MAD_ML  0x10
#define TFT_MAD_RGB 0x00
#define TFT_MAD_BGR 0x08
#define TFT_MAD_MH  0x04
#define TFT_MAD_SS  0x02
#define TFT_MAD_GS  0x01

  	//HAL_GPIO_WritePin(GPIOA, GPIO_PIN_7|GPIO_PIN_3|GPIO_PIN_2|GPIO_PIN_10|GPIO_PIN_8|GPIO_PIN_9, GPIO_PIN_RESET);
  	//HAL_GPIO_WritePin(GPIOB, GPIO_PIN_6|GPIO_PIN_3|GPIO_PIN_5|GPIO_PIN_4|GPIO_PIN_10, GPIO_PIN_RESET);
  	//HAL_GPIO_WritePin(GPIOC, GPIO_PIN_7, GPIO_PIN_RESET);

/*
  	HAL_GPIO_WritePin(GPIOB, GPIO_PIN_10, GPIO_PIN_SET);

	for(int i = 0; i < 2; i++) {
  		HAL_GPIO_WritePin(GPIOA, GPIO_PIN_5|GPIO_PIN_8|GPIO_PIN_10|GPIO_PIN_2|GPIO_PIN_3, GPIO_PIN_RESET);
  		HAL_GPIO_WritePin(GPIOB, GPIO_PIN_3|GPIO_PIN_4|GPIO_PIN_5, GPIO_PIN_RESET);
  		HAL_GPIO_WritePin(GPIOA, GPIO_PIN_5|GPIO_PIN_8|GPIO_PIN_10|GPIO_PIN_2|GPIO_PIN_3, GPIO_PIN_SET);
  		HAL_GPIO_WritePin(GPIOB, GPIO_PIN_3|GPIO_PIN_4|GPIO_PIN_5, GPIO_PIN_SET);
		HAL_Delay(500);
	}
*/

  		HAL_GPIO_WritePin(GPIOA, GPIO_PIN_10, GPIO_PIN_SET);
  /* USER CODE END 2 */

  /* Infinite loop */
  while (1)
  {

    /* USER CODE BEGIN 3 */

	//for(int i = 0; i < 10000; i++) {
	//}

	// CLK  / = D11 PA7
	// DC    = D10 PB6
	// SDA00 = PA3
	// SDA01 = PA2
	// SDA02 = PA10
	// SDA03 = PB3
	// SDA04 = PB5
	// SDA05 = PB4
	// SDA06 = PB10
	// SDA07 = PA8
	// SDA08 = PA9
	// SDA09 = PC7

	//HAL_Delay(1);

/*
*/

	uint32_t delay = 1;
	/*
	while(1) {
		writeLCDCommand(ST7789_NOP, delay);
		writeLCDCommand(ST7789_SWRESET, delay);
	}
	*/

	for(int i = 0; i < 10; i++) {
  		HAL_GPIO_WritePin(GPIOA, GPIO_PIN_10, GPIO_PIN_RESET);
		HAL_Delay(100);
  		HAL_GPIO_WritePin(GPIOA, GPIO_PIN_10, GPIO_PIN_SET);
		HAL_Delay(100);
	}
/*
*/

/*
	HAL_Delay(5);
  	HAL_GPIO_WritePin(GPIOB, GPIO_PIN_10, GPIO_PIN_SET);
	HAL_Delay(5);

  	HAL_GPIO_WritePin(GPIOB, GPIO_PIN_10, GPIO_PIN_RESET);
*/
/*
	for(int i = 0; i < 1000; i++) {
		asm("NOP");
	}
*/

  		HAL_GPIO_WritePin(GPIOA, GPIO_PIN_7, GPIO_PIN_SET);
		HAL_Delay(5);
  		HAL_GPIO_WritePin(GPIOA, GPIO_PIN_7, GPIO_PIN_RESET);
		HAL_Delay(20);
  		HAL_GPIO_WritePin(GPIOA, GPIO_PIN_7, GPIO_PIN_SET);

/*
	HAL_Delay(5);
  	HAL_GPIO_WritePin(GPIOB, GPIO_PIN_10, GPIO_PIN_SET);
	//HAL_Delay(1000);

*/

	HAL_Delay(500);

	writeLCDCommand(ST7789_SWRESET, delay);
	HAL_Delay(150);
/*
*/
//		writeLCDCommand(ST7789_NOP, delay);

/*
	HAL_Delay(1000);
*/

	writeLCDCommand(ST7789_SLPOUT, delay);
	HAL_Delay(120);
/*
		writeLCDCommand(ST7789_NOP, delay);
*/
/*
	for(int i = 0; i < 20; i++) {
  		HAL_GPIO_WritePin(GPIOA, GPIO_PIN_10, GPIO_PIN_RESET);
		HAL_Delay(100);
  		HAL_GPIO_WritePin(GPIOA, GPIO_PIN_10, GPIO_PIN_SET);
		HAL_Delay(100);
	}
*/
	writeLCDCommand(ST7789_NORON, delay);
	HAL_Delay(10);

	writeLCDCommand(ST7789_MADCTL, delay);
	writeLCDDataByte(0x08, delay); // BGR
	//writeLCDDataByte(0x00, delay); // RGB
	HAL_Delay(10);

/*
*/
	writeLCDCommand(0xB6, delay);
	writeLCDDataByte(0x0A, delay);
	writeLCDDataByte(0x82, delay);

	writeLCDCommand(ST7789_COLMOD, delay);
	writeLCDDataByte(0x55, delay);
	HAL_Delay(10);

	writeLCDCommand(ST7789_PORCTRL, delay);
	writeLCDDataByte(0x0c, delay);
	writeLCDDataByte(0x0c, delay);
	writeLCDDataByte(0x00, delay);
	writeLCDDataByte(0x33, delay);
	writeLCDDataByte(0x33, delay);

	writeLCDCommand(ST7789_GCTRL, delay);
	writeLCDDataByte(0x35, delay);

	// Power settings
	writeLCDCommand(ST7789_VCOMS, delay);
	writeLCDDataByte(0x28, delay);
	writeLCDCommand(ST7789_LCMCTRL, delay);
	writeLCDDataByte(0x0c, delay);
	writeLCDCommand(ST7789_VDVVRHEN, delay);
	writeLCDDataByte(0x01, delay);
	writeLCDDataByte(0xFF, delay);
	writeLCDCommand(ST7789_VRHS, delay);
	writeLCDDataByte(0x10, delay);
	writeLCDCommand(ST7789_VDVSET, delay);
	writeLCDDataByte(0x20, delay);
	writeLCDCommand(ST7789_FRCTR2, delay);
	writeLCDDataByte(0x0f, delay);
	writeLCDCommand(ST7789_PWCTRL1, delay);
	writeLCDDataByte(0xa4, delay);
	writeLCDDataByte(0xa1, delay);

	// gamma
	writeLCDCommand(ST7789_PVGAMCTRL, delay);
	writeLCDDataByte(0xd0, delay);
	writeLCDDataByte(0x00, delay);
	writeLCDDataByte(0x02, delay);
	writeLCDDataByte(0x07, delay);
	writeLCDDataByte(0x0a, delay);
	writeLCDDataByte(0x28, delay);
	writeLCDDataByte(0x32, delay);
	writeLCDDataByte(0x44, delay);
	writeLCDDataByte(0x42, delay);
	writeLCDDataByte(0x06, delay);
	writeLCDDataByte(0x0e, delay);
	writeLCDDataByte(0x12, delay);
	writeLCDDataByte(0x14, delay);
	writeLCDDataByte(0x17, delay);

	writeLCDDataByte(ST7789_NVGAMCTRL, delay);
	writeLCDDataByte(0xd0, delay);
	writeLCDDataByte(0x00, delay);
	writeLCDDataByte(0x02, delay);
	writeLCDDataByte(0x07, delay);
	writeLCDDataByte(0x0a, delay);
	writeLCDDataByte(0x28, delay);
	writeLCDDataByte(0x31, delay);
	writeLCDDataByte(0x54, delay);
	writeLCDDataByte(0x47, delay);
	writeLCDDataByte(0x0e, delay);
	writeLCDDataByte(0x1c, delay);
	writeLCDDataByte(0x17, delay);
	writeLCDDataByte(0x1b, delay);
	writeLCDDataByte(0x1e, delay);

	writeLCDCommand(ST7789_INVON, delay);

	writeLCDCommand(ST7789_CASET, delay);
	writeLCDDataByte(0x00, delay);
	writeLCDDataByte(0x00, delay);
	writeLCDDataByte(0x00, delay);
	writeLCDDataByte(0x10, delay);

	writeLCDCommand(ST7789_RASET, delay);
	writeLCDDataByte(0x00, delay);
	writeLCDDataByte(0x00, delay);
	writeLCDDataByte(0x00, delay);
	writeLCDDataByte(0x10, delay);

	HAL_Delay(120);

	writeLCDCommand(ST7789_DISPON, delay);
	HAL_Delay(500);

	writeLCDCommand(TFT_INVON, delay);

	//continue;

/*
		while(1) {
		writeLCDCommand(ST7789_RDDID, delay);
			uint8_t readBuffer[8];
			readLCDData(readBuffer, 8, delay);
			readLCDData(readBuffer, 8, delay);
			readLCDData(readBuffer, 8, delay);
			readLCDData(readBuffer, 8, delay);
		}
*/

	uint16_t colourLUTLEFT[] = {
		0b11111000,	// red
		0b00000111,	// green
		0b00000000,	// blue
		0b00000000,	// black
		0b11111111,	// yellow
		0b11111011,	// orange
		0b01111000,	// purple
		0b11111111,	// white
	};

	uint16_t colourLUTRIGHT[] = {
		0b00000000,	// red
		0b11000000,	// green
		0b00111110,	// blue
		0b00000000,	// black
		0b11000000,	// yellow
		0b11000000,	// orange
		0b00011110,	// purple
		0b11111110,	// white
	};

/*
		/drawHeart(STATUS_SCREEN, heartColor, screenBuffers);			// YES
		//drawHeart(GOOGLY_OUTER_LEFT_SCREEN, heartColor, screenBuffers);	// INNER LEFT
		//drawHeart(GOOGLY_INNER_LEFT_SCREEN, heartColor, screenBuffers);	// OUTER RIGHT
		//drawHeart(GOOGLY_INNER_RIGHT_SCREEN, heartColor, screenBuffers);	// OUTER LEFT
		drawHeart(GOOGLY_OUTER_RIGHT_SCREEN, heartColor, screenBuffers);	// INNER RIGHT
*/

/*
*/
#define STATUS_SCREEN  2
#define GOOGLY_OUTER_RIGHT_SCREEN 3
#define GOOGLY_INNER_RIGHT_SCREEN 0
#define GOOGLY_OUTER_LEFT_SCREEN 4

#define GOOGLY_INNER_LEFT_SCREEN 1

	uint16_t screenBuffers[240 * 240];

	for(uint16_t x = 0; x < 240 * 240; x++) {
		//screenBuffers[x] = 0b0010010010010010;
		//screenBuffers[x] = 0xff;
		screenBuffers[x] = 0;
	}

	for(uint8_t screen = 0; screen < 5; screen++) {
		clearScreen(screen, screenBuffers);
	}

	uint16_t statusIndex = 0;

	uint16_t heartColor = SCREEN_TFT_WHITE;
#define DISPLAY_MODE_FIRST_INDEX (0)
#define DISPLAY_MODE_HEART (0)
#define DISPLAY_MODE_GOOGLY (1)
#define DISPLAY_MODE_LAST_INDEX (1)

	int mode = DISPLAY_MODE_GOOGLY;

	uint32_t modeChangeTick = HAL_GetTick();
	uint32_t lastTick = HAL_GetTick();

	struct GooglyState googlyStates[5];
	for(int i = 0; i < 5; i++) {
		googlyStates[i].x = 120;
		googlyStates[i].y = 120;
		googlyStates[i].radius = (i + 2) * 10;
		googlyStates[i].verticalRate = 0;
		googlyStates[i].horizontalRate = 0;
	}

	// *** GENERATE SOME RANDOMS ***
	generateRandoms();

	while(1) {
		/*
		if((HAL_GetTick() - modeChangeTick) > 1000) {
			modeChangeTick = HAL_GetTick();
			mode++;
			if(mode >= DISPLAY_MODE_LAST_INDEX) {
				mode = DISPLAY_MODE_FIRST_INDEX;
			}
		}
		*/

/*
		if(rand() % 2000 > 1900) {
			mode++;
			if(mode > DISPLAY_MODE_LAST_INDEX) {
				mode = DISPLAY_MODE_FIRST_INDEX;
			}
		}
*/

		if(mode == DISPLAY_MODE_HEART) {
/*
			float tickDistance = HAL_GetTick() - lastTick;

			if(tickDistance > 1000.0f) {
				lastTick = HAL_GetTick();
			} else if(tickDistance > 500.0f) {
				heartColor = ((int)(0xff * 1.0f/logf(10.0f + tickDistance))) & 0b000001111100000;
			} else {
				heartColor = ((int)(0xff * 1.0f/logf(10.0f + tickDistance))) & 0b000001111100000;
			}
*/

			//drawHeart(STATUS_SCREEN, SCREEN_TFT_RED, screenBuffers);			// YES
			drawHeart(GOOGLY_INNER_RIGHT_SCREEN, SCREEN_TFT_RED, screenBuffers);	// OUTER LEFT
			drawHeart(GOOGLY_OUTER_RIGHT_SCREEN, SCREEN_TFT_RED, screenBuffers);	// INNER RIGHT
			drawHeart(GOOGLY_OUTER_LEFT_SCREEN, SCREEN_TFT_RED, screenBuffers);	// INNER LEFT
			drawHeart(GOOGLY_INNER_LEFT_SCREEN, SCREEN_TFT_RED, screenBuffers);	// OUTER RIGHT
		} else if(mode == DISPLAY_MODE_GOOGLY) {
			for(int i = 0; i < 5; i++) {
				if(i == STATUS_SCREEN) {
					continue;
				}

				updateGoogly(&googlyStates[i]);
			}

			for(int i = 0; i < 5; i++) {
				if(i == STATUS_SCREEN) {
					continue;
				}

				drawGoogly(&googlyStates[i], i, screenBuffers);
			}
		}

		drawCybers(10, 120, STATUS_SCREEN, screenBuffers);

		writeLCDCommand(ST7789_CASET, delay);
		writeLCDDataByte(0x00, delay);
		writeLCDDataByte(0x00, delay);
		writeLCDDataByte(0x00, delay);
		writeLCDDataByte(0xF0, delay);

		writeLCDCommand(ST7789_RASET, delay);
		writeLCDDataByte(0x00, delay);
		writeLCDDataByte(0x00, delay);
		writeLCDDataByte(0x00, delay);
		writeLCDDataByte(0xF0, delay);

		writeLCDCommand(ST7789_RAMWR, delay);

		for(uint16_t x = 0; x < 240; x++) {
			for(uint16_t y = 0; y < 240; y++) {
					// 0b0 111 111 111 111 111
					uint8_t pixel1 = getPixelTFT(x, y, GOOGLY_OUTER_LEFT_SCREEN, screenBuffers);
					uint8_t pixel2 = getPixelTFT(x, y, GOOGLY_INNER_LEFT_SCREEN, screenBuffers);
					uint8_t pixel3 = getPixelTFT(x, y, STATUS_SCREEN, screenBuffers);
					uint8_t pixel4 = getPixelTFT(x, y, GOOGLY_INNER_RIGHT_SCREEN, screenBuffers);
					uint8_t pixel5 = getPixelTFT(x, y, GOOGLY_OUTER_RIGHT_SCREEN, screenBuffers);

					writeLCDDataByteMulti(
						colourLUTLEFT[pixel1],
						colourLUTLEFT[pixel2],
						colourLUTLEFT[pixel3],
						colourLUTLEFT[pixel4],
						colourLUTLEFT[pixel5],
					delay);
					writeLCDDataByteMulti(
						colourLUTRIGHT[pixel1],
						colourLUTRIGHT[pixel2],
						colourLUTRIGHT[pixel3],
						colourLUTRIGHT[pixel4],
						colourLUTRIGHT[pixel5],
					delay);
			}
		}
/*
*/
  		//HAL_GPIO_WritePin(GPIOA, GPIO_PIN_13,GPIO_PIN_RESET); // DC

/*
  		HAL_GPIO_WritePin(GPIOA, GPIO_PIN_10, GPIO_PIN_RESET);
		HAL_Delay(100);
  		HAL_GPIO_WritePin(GPIOA, GPIO_PIN_10, GPIO_PIN_SET);
		HAL_Delay(100);
*/
	}
  }
  /* USER CODE END 3 */
}

void SystemClock_Config(void)
{
  RCC_OscInitTypeDef RCC_OscInitStruct = {0};
  RCC_ClkInitTypeDef RCC_ClkInitStruct = {0};

  /** Configure the main internal regulator output voltage
  */
  __HAL_RCC_PWR_CLK_ENABLE();
  __HAL_PWR_VOLTAGESCALING_CONFIG(PWR_REGULATOR_VOLTAGE_SCALE1);
  /** Initializes the CPU, AHB and APB busses clocks
  */
  RCC_OscInitStruct.OscillatorType = RCC_OSCILLATORTYPE_HSI;
  RCC_OscInitStruct.HSIState = RCC_HSI_ON;
  RCC_OscInitStruct.HSICalibrationValue = RCC_HSICALIBRATION_DEFAULT;
  RCC_OscInitStruct.PLL.PLLState = RCC_PLL_ON;
  RCC_OscInitStruct.PLL.PLLSource = RCC_PLLSOURCE_HSI;
  RCC_OscInitStruct.PLL.PLLM = 16;
  RCC_OscInitStruct.PLL.PLLN = 320;
  RCC_OscInitStruct.PLL.PLLP = RCC_PLLP_DIV2;
  RCC_OscInitStruct.PLL.PLLQ = 3;
  if (HAL_RCC_OscConfig(&RCC_OscInitStruct) != HAL_OK)
  {
    Error_Handler();
  }
  /** Initializes the CPU, AHB and APB busses clocks
  */
  RCC_ClkInitStruct.ClockType = RCC_CLOCKTYPE_HCLK|RCC_CLOCKTYPE_SYSCLK
                              |RCC_CLOCKTYPE_PCLK1|RCC_CLOCKTYPE_PCLK2;
  RCC_ClkInitStruct.SYSCLKSource = RCC_SYSCLKSOURCE_PLLCLK;
  RCC_ClkInitStruct.AHBCLKDivider = RCC_SYSCLK_DIV1;
  RCC_ClkInitStruct.APB1CLKDivider = RCC_HCLK_DIV4;
  RCC_ClkInitStruct.APB2CLKDivider = RCC_HCLK_DIV2;

  if (HAL_RCC_ClockConfig(&RCC_ClkInitStruct, FLASH_LATENCY_5) != HAL_OK)
  {
    Error_Handler();
  }
}

static void MX_GPIO_Init(void)
{
  GPIO_InitTypeDef GPIO_InitStruct = {0};

  /* GPIO Ports Clock Enable */
  __HAL_RCC_GPIOA_CLK_ENABLE();
  __HAL_RCC_GPIOB_CLK_ENABLE();

  /*Configure GPIO pin Output Level */
  HAL_GPIO_WritePin(GPIOA, GPIO_PIN_3|GPIO_PIN_5|GPIO_PIN_7|GPIO_PIN_10, GPIO_PIN_RESET);

  /*Configure GPIO pin Output Level */
  HAL_GPIO_WritePin(GPIOB, GPIO_PIN_1|GPIO_PIN_10|GPIO_PIN_3|GPIO_PIN_4
                          |GPIO_PIN_5, GPIO_PIN_RESET);

  /*Configure GPIO pin Output Level */
  HAL_GPIO_WritePin(GPIOA, GPIO_PIN_8, GPIO_PIN_SET);

  /*Configure GPIO pins : PA3 PA5 PA7 PA10 */
  GPIO_InitStruct.Pin = GPIO_PIN_3|GPIO_PIN_5|GPIO_PIN_7|GPIO_PIN_10;
  GPIO_InitStruct.Mode = GPIO_MODE_OUTPUT_PP;
  GPIO_InitStruct.Pull = GPIO_NOPULL;
  GPIO_InitStruct.Speed = GPIO_SPEED_FREQ_LOW;
  HAL_GPIO_Init(GPIOA, &GPIO_InitStruct);

  /*Configure GPIO pins : PB1 PB10 PB3 PB4
                           PB5 */
  GPIO_InitStruct.Pin = GPIO_PIN_1|GPIO_PIN_10|GPIO_PIN_3|GPIO_PIN_4
                          |GPIO_PIN_5;
  GPIO_InitStruct.Mode = GPIO_MODE_OUTPUT_PP;
  GPIO_InitStruct.Pull = GPIO_NOPULL;
  GPIO_InitStruct.Speed = GPIO_SPEED_FREQ_LOW;
  HAL_GPIO_Init(GPIOB, &GPIO_InitStruct);

  /*Configure GPIO pin : PA8 */
  GPIO_InitStruct.Pin = GPIO_PIN_8;
  GPIO_InitStruct.Mode = GPIO_MODE_OUTPUT_PP;
  GPIO_InitStruct.Pull = GPIO_NOPULL;
  GPIO_InitStruct.Speed = GPIO_SPEED_FREQ_HIGH;
  HAL_GPIO_Init(GPIOA, &GPIO_InitStruct);

}

/* USER CODE BEGIN 4 */
/*
void user_pwm_setvalue(uint16_t value)
{
    TIM_OC_InitTypeDef sConfigOC;
    sConfigOC.OCMode = TIM_OCMODE_PWM1;
    sConfigOC.Pulse = value;
    sConfigOC.OCPolarity = TIM_OCPOLARITY_HIGH;
    sConfigOC.OCFastMode = TIM_OCFAST_DISABLE;
    HAL_TIM_PWM_ConfigChannel(&htim3, &sConfigOC, TIM_CHANNEL_3);
    HAL_TIM_PWM_Start(&htim3, TIM_CHANNEL_3);
}
*/
/* USER CODE END 4 */

void Error_Handler(void)
{
  while(1)
  {
  }
}

/************************ (C) COPYRIGHT STMicroelectronics *****END OF FILE****/
